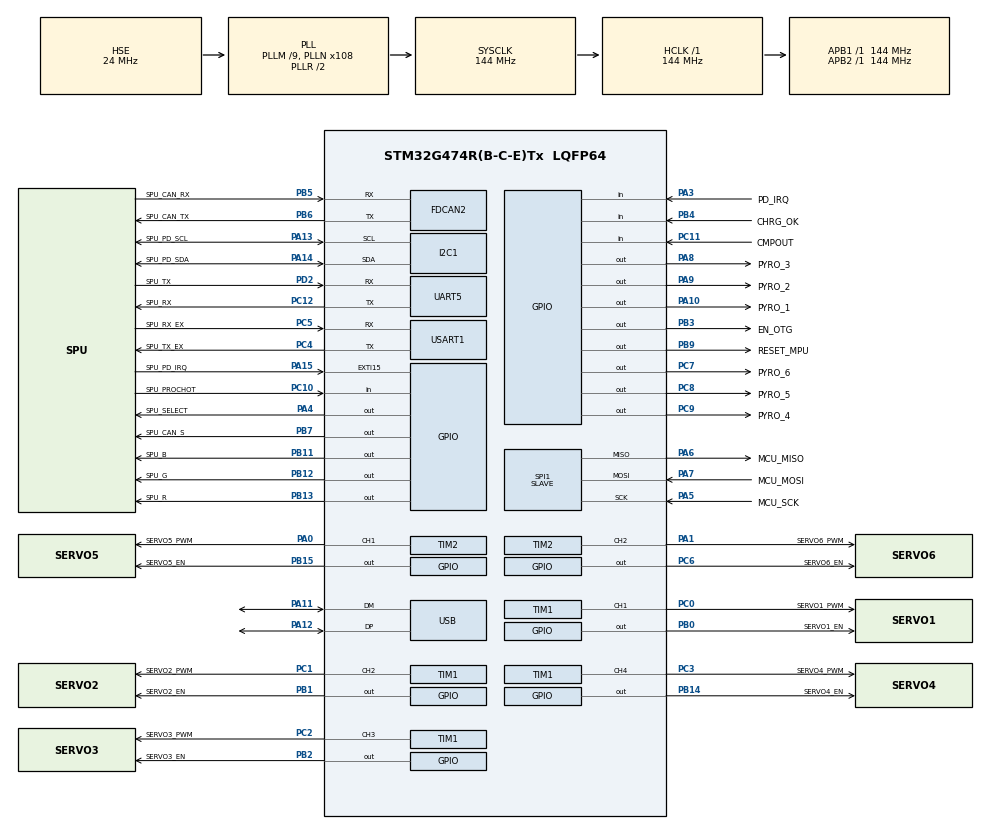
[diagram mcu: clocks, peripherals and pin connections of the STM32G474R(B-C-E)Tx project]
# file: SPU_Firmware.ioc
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FDCAN2.CalculateBaudRateNominal=2999999
FDCAN2.CalculateTimeBitNominal=333
FDCAN2.CalculateTimeQuantumNominal=111.11111111111111
I2C1.Timing=0x60715075
Mcu.Family=STM32G4
Mcu.Name=STM32G474R(B-C-E)Tx
Mcu.Package=LQFP64
NVIC.PriorityGroup=NVIC_PRIORITYGROUP_4
NVIC.UART5_IRQn=true\:1\:0\:false\:false\:true\:true\:true\:true
NVIC.USB_LP_IRQn=true\:0\:0\:false\:false\:true\:false\:true\:true
PA0.GPIO_Label=SERVO5_PWM
PA0.Signal=S_TIM2_CH1
PA1.GPIO_Label=SERVO6_PWM
PA1.Signal=S_TIM2_CH2
PA10.GPIO_Label=PYRO_1
PA10.Signal=GPIO_Output
PA11.Mode=Device
PA11.Signal=USB_DM
PA12.Mode=Device
PA12.Signal=USB_DP
PA13.GPIO_Label=SPU_PD_SCL
PA13.GPIO_PuPd=GPIO_PULLUP
PA13.Mode=I2C
PA13.Signal=I2C1_SCL
PA14.GPIO_Label=SPU_PD_SDA
PA14.GPIO_PuPd=GPIO_PULLUP
PA14.Mode=I2C
PA14.Signal=I2C1_SDA
PA15.GPIO_Label=SPU_PD_IRQ
PA15.Signal=GPXTI15
PA3.GPIO_Label=PD_IRQ
PA3.GPIO_PuPd=GPIO_PULLUP
PA3.Signal=GPIO_Input
PA4.GPIO_Label=SPU_SELECT
PA4.Signal=GPIO_Output
PA5.GPIO_Label=MCU_SCK
PA5.Mode=Full_Duplex_Slave
PA5.Signal=SPI1_SCK
PA6.GPIO_Label=MCU_MISO
PA6.Mode=Full_Duplex_Slave
PA6.Signal=SPI1_MISO
PA7.GPIO_Label=MCU_MOSI
PA7.Mode=Full_Duplex_Slave
PA7.Signal=SPI1_MOSI
PA8.GPIO_Label=PYRO_3
PA8.Signal=GPIO_Output
PA9.GPIO_Label=PYRO_2
PA9.Signal=GPIO_Output
PB0.GPIO_Label=SERVO1_EN
PB0.Signal=GPIO_Output
PB1.GPIO_Label=SERVO2_EN
PB1.Signal=GPIO_Output
PB11.GPIO_Label=SPU_B
PB11.PinState=GPIO_PIN_SET
PB11.Signal=GPIO_Output
PB12.GPIO_Label=SPU_G
PB12.PinState=GPIO_PIN_SET
PB12.Signal=GPIO_Output
PB13.GPIO_Label=SPU_R
PB13.PinState=GPIO_PIN_SET
PB13.Signal=GPIO_Output
PB14.GPIO_Label=SERVO4_EN
PB14.Signal=GPIO_Output
PB15.GPIO_Label=SERVO5_EN
PB15.Signal=GPIO_Output
PB2.GPIO_Label=SERVO3_EN
PB2.Signal=GPIO_Output
PB3.GPIO_Label=EN_OTG
PB3.Signal=GPIO_Output
PB4.GPIO_Label=CHRG_OK
PB4.Signal=GPIO_Input
PB5.GPIO_Label=SPU_CAN_RX
PB5.Mode=FDCAN_Activate
PB5.Signal=FDCAN2_RX
PB6.GPIO_Label=SPU_CAN_TX
PB6.Mode=FDCAN_Activate
PB6.Signal=FDCAN2_TX
PB7.GPIO_Label=SPU_CAN_S
PB7.PinState=GPIO_PIN_SET
PB7.Signal=GPIO_Output
PB9.GPIO_Label=RESET_MPU
PB9.PinState=GPIO_PIN_SET
PB9.Signal=GPIO_Output
PC0.GPIO_Label=SERVO1_PWM
PC0.Signal=S_TIM1_CH1
PC1.GPIO_Label=SERVO2_PWM
PC1.Signal=S_TIM1_CH2
PC10.GPIO_Label=SPU_PROCHOT
PC10.Signal=GPIO_Input
PC11.GPIO_Label=CMPOUT
PC11.Signal=GPIO_Input
PC12.GPIO_Label=SPU_RX
PC12.Mode=Asynchronous
PC12.Signal=UART5_TX
PC14-OSC32_IN.Mode=LSE-External-Oscillator
PC14-OSC32_IN.Signal=RCC_OSC32_IN
PC15-OSC32_OUT.Mode=LSE-External-Oscillator
PC15-OSC32_OUT.Signal=RCC_OSC32_OUT
PC2.GPIO_Label=SERVO3_PWM
PC2.Signal=S_TIM1_CH3
PC3.GPIO_Label=SERVO4_PWM
PC3.Signal=S_TIM1_CH4
PC4.GPIO_Label=SPU_TX_EX
PC4.Mode=Asynchronous
PC4.Signal=USART1_TX
PC5.GPIO_Label=SPU_RX_EX
PC5.Mode=Asynchronous
PC5.Signal=USART1_RX
PC6.GPIO_Label=SERVO6_EN
PC6.Signal=GPIO_Output
PC7.GPIO_Label=PYRO_6
PC7.Signal=GPIO_Output
PC8.GPIO_Label=PYRO_5
PC8.Signal=GPIO_Output
PC9.GPIO_Label=PYRO_4
PC9.Signal=GPIO_Output
PD2.GPIO_Label=SPU_TX
PD2.Mode=Asynchronous
PD2.Signal=UART5_RX
PF0-OSC_IN.Mode=HSE-External-Oscillator
PF0-OSC_IN.Signal=RCC_OSC_IN
PF1-OSC_OUT.Mode=HSE-External-Oscillator
PF1-OSC_OUT.Signal=RCC_OSC_OUT
ProjectManager.HeapSize=0x200
ProjectManager.StackSize=0x400
ProjectManager.TargetToolchain=Makefile
RCC.ADC12Freq_Value=144000000
RCC.ADC345Freq_Value=144000000
RCC.AHBFreq_Value=144000000
RCC.APB1Freq_Value=144000000
RCC.APB1TimFreq_Value=144000000
RCC.APB2Freq_Value=144000000
RCC.APB2TimFreq_Value=144000000
RCC.CortexFreq_Value=144000000
RCC.EXTERNAL_CLOCK_VALUE=12288000
RCC.HCLKFreq_Value=144000000
RCC.HSE_VALUE=24000000
RCC.HSI48_VALUE=48000000
RCC.HSI_VALUE=16000000
RCC.PLLM=RCC_PLLM_DIV9
RCC.PLLN=108
RCC.PLLQ=RCC_PLLQ_DIV6
RCC.PLLSourceVirtual=RCC_PLLSOURCE_HSE
RCC.SYSCLKFreq_VALUE=144000000
RCC.SYSCLKSource=RCC_SYSCLKSOURCE_PLLCLK
RCC.USBFreq_Value=48000000
RCC.VCOOutputFreq_Value=288000000
SH.S_TIM1_CH1.0=TIM1_CH1,PWM Generation1 CH1
SH.S_TIM1_CH2.0=TIM1_CH2,PWM Generation2 CH2
SH.S_TIM1_CH3.0=TIM1_CH3,PWM Generation3 CH3
SH.S_TIM1_CH4.0=TIM1_CH4,PWM Generation4 CH4
SH.S_TIM2_CH1.0=TIM2_CH1,PWM Generation1 CH1
SH.S_TIM2_CH2.0=TIM2_CH2,PWM Generation2 CH2
SPI1.Direction=SPI_DIRECTION_2LINES
SPI1.Mode=SPI_MODE_SLAVE
SPI1.VirtualType=VM_SLAVE
TIM1.Channel-PWM\ Generation1\ CH1=TIM_CHANNEL_1
TIM1.Channel-PWM\ Generation2\ CH2=TIM_CHANNEL_2
TIM1.Channel-PWM\ Generation3\ CH3=TIM_CHANNEL_3
TIM1.Channel-PWM\ Generation4\ CH4=TIM_CHANNEL_4
TIM1.Period=19999
TIM1.Prescaler=143
TIM2.Channel-PWM\ Generation1\ CH1=TIM_CHANNEL_1
TIM2.Channel-PWM\ Generation2\ CH2=TIM_CHANNEL_2
TIM2.Period=19999
TIM2.Prescaler=143
UART5.VirtualMode-Asynchronous=VM_ASYNC
USART1.VirtualMode-Asynchronous=VM_ASYNC
USB_DEVICE.CLASS_NAME_FS=CDC
USB_DEVICE.VirtualMode=Cdc
USB_DEVICE.VirtualModeFS=Cdc_FS
VP_SYS_VS_DBSignals.Mode=DisableDeadBatterySignals
VP_USB_DEVICE_VS_USB_DEVICE_CDC_FS.Mode=CDC_FS
board=custom

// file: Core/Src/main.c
/* USER CODE BEGIN Header */
/**
  ******************************************************************************
  * @file           : main.c
  * @brief          : Main program body
  ******************************************************************************
  * @attention
  *
  * Copyright (c) 2025 STMicroelectronics.
  * All rights reserved.
  *
  * This software is licensed under terms that can be found in the LICENSE file
  * in the root directory of this software component.
  * If no LICENSE file comes with this software, it is provided AS-IS.
  *
  ******************************************************************************
  */
/* USER CODE END Header */
#include "main.h"
#include "usb_device.h"

/* USER CODE BEGIN Includes */
#include <string.h>
#include "usbd_cdc_if.h"
#include "athena.h"
#include "athena_link.h"
#include "recovery.h"
#include "pd.h"

/* USER CODE END Includes */

/* USER CODE BEGIN PD */
#define LED_IDENTITY_MS 3000      // show the MCU identity colour this long after reset
#define SPU_STATUS_MS   500       // Athena_SpuStatus frames to the MPU (and USB)
#define STATUS_PRINT_MS 1000
 #define TPS25751_I2C_ADDR        0x20  // 7-bit I2C Address (HAL will shift to 0x40)
  #define LOAD_FULL_FLASH          1     // Set to 1 for full flash, 0 for low region only
/* USER CODE END PD */

FDCAN_HandleTypeDef hfdcan2;

I2C_HandleTypeDef hi2c1;

SPI_HandleTypeDef hspi1;

TIM_HandleTypeDef htim1;
TIM_HandleTypeDef htim2;

UART_HandleTypeDef huart5;
UART_HandleTypeDef huart1;

/* USER CODE BEGIN PV */
static uint32_t dfu_boot_magic, dfu_boot_bkp;
static uint8_t  leds_off;                      // 'L' on the USB console: dark board (night, bench)
static uint32_t fault_rec[6];                 // crash record from the previous run (magic, pc, lr, cfsr, hfsr, bfar)
static Link            mpu_link;                 // UART5 <-> MPU: state frames in, SPU status out, commands relayed from the TPU
static Link            usb_link;                 // USB console: command frames and single-character commands
static uint8_t         uart5_rx_byte;
static uint8_t         uart_frame[sizeof(Athena_SpuStatus) + LINK_OVERHEAD];   // owned by the UART5 IT transfer
static uint8_t         usb_frame[sizeof(Athena_SpuStatus) + LINK_OVERHEAD];
static Recovery        rec;                      // flight phase, pyro channels, servos
static PD              pd;                       // TPS25751 USB-PD controller + BQ25713 charger behind it
static Athena_State    mpu_state;
static uint32_t        mpu_state_ms, state_count, cmd_count, cmd_rejected;
  Athena_LED_PinConfig led_pins = {
      .port_r = SPU_R_GPIO_Port,
      .pin_r = SPU_R_Pin,
      .port_g = SPU_G_GPIO_Port,
      .pin_g = SPU_G_Pin,
      .port_b = SPU_B_GPIO_Port,
      .pin_b = SPU_B_Pin
  };
/* USER CODE END PV */

void SystemClock_Config(void);
static void MX_GPIO_Init(void);
static void MX_I2C1_Init(void);
static void MX_SPI1_Init(void);
static void MX_TIM1_Init(void);
static void MX_TIM2_Init(void);
static void MX_UART5_Init(void);
static void MX_FDCAN2_Init(void);
static void MX_USART1_UART_Init(void);
/* USER CODE BEGIN PFP */
static void Athena_DfuPoll(void);
static void Athena_RestoreBootOptions(void);
void Athena_DfuRequest(uint8_t c);
void Athena_UsbRx(const uint8_t *buf, uint32_t len);
static void on_mpu_packet(uint8_t type, const uint8_t *payload, uint8_t len, void *user);
static void on_usb_packet(uint8_t type, const uint8_t *payload, uint8_t len, void *user);
static void on_usb_text(uint8_t b, void *user);
static void handle_cmd(const Athena_Cmd *c, const char *src);

/* USER CODE END PFP */

int main(void)
{

  /* USER CODE BEGIN 1 */
  SCB->VTOR = FLASH_BASE;                                       /* after a DFU "leave" the ROM jumps here without a reset and VTOR still points at its own table */
  __DSB(); __ISB();
  dfu_boot_magic = *(volatile uint32_t *)DFU_MAGIC_ADDR;        /* printed later: tells whether the word survived the reset */
  DFU_BKP_ENABLE();
  dfu_boot_bkp = DFU_BKP_REG;
  if (dfu_boot_magic == DFU_MAGIC || dfu_boot_bkp == DFU_MAGIC) {   /* 'B' on the USB console asked for DFU */
    *(volatile uint32_t *)DFU_MAGIC_ADDR = 0;
    DFU_BKP_REG = 0;
    SysTick->CTRL = 0;
    __HAL_RCC_SYSCFG_CLK_ENABLE();
    __HAL_SYSCFG_REMAPMEMORY_SYSTEMFLASH();                     /* G4 ROM expects itself at address 0 (it re-runs its boot selection otherwise) */
    SCB->VTOR = DFU_SYSMEM_ADDR;                                /* ROM vector table; interrupts stay enabled as after a real reset */
    __set_MSP(*(volatile uint32_t *)DFU_SYSMEM_ADDR);
    ((void (*)(void))(*(volatile uint32_t *)(DFU_SYSMEM_ADDR + 4)))();   /* never returns */
  }

  { volatile uint32_t *r = (volatile uint32_t *)(DFU_MAGIC_ADDR + 0x10);   /* left by Athena_FaultSave() / Error_Handler() before their reset */
    if (r[0] == 0x46415554UL || r[0] == 0x4552524FUL) { for (int i = 0; i < 6; i++) fault_rec[i] = r[i]; r[0] = 0; } }
  /* USER CODE END 1 */

  /* MCU Configuration--------------------------------------------------------*/

  /* Reset of all peripherals, Initializes the Flash interface and the Systick. */
  HAL_Init();

  /* Configure the system clock */
  SystemClock_Config();

  /* USER CODE BEGIN SysInit */

  Athena_Init(&led_pins, NULL);
  /* USER CODE END SysInit */

  /* Initialize all configured peripherals */
  MX_GPIO_Init();
  MX_I2C1_Init();
  MX_SPI1_Init();
  MX_TIM1_Init();
  MX_TIM2_Init();
  MX_UART5_Init();
  MX_FDCAN2_Init();
  MX_USART1_UART_Init();
  MX_USB_Device_Init();
  /* USER CODE BEGIN 2 */
  Athena_RestoreBootOptions();                         // resets once if we were booted through DFU
  Set_LED_Color(LED_BLUE);                             // identity colour: SPU = blue (MPU green, TPU red)
  Recovery_Init(&rec, NULL);                           // pyro outputs low, servos without pulse, main chute at 150 m
  HAL_TIM_PWM_Start(&htim1, TIM_CHANNEL_1);            // 50 Hz servo frames, pulse set in Recovery_HwServo()
  HAL_TIM_PWM_Start(&htim1, TIM_CHANNEL_2);
  HAL_TIM_PWM_Start(&htim1, TIM_CHANNEL_3);
  HAL_TIM_PWM_Start(&htim1, TIM_CHANNEL_4);
  HAL_TIM_PWM_Start(&htim2, TIM_CHANNEL_1);
  HAL_TIM_PWM_Start(&htim2, TIM_CHANNEL_2);
  Link_Init(&mpu_link, on_mpu_packet, NULL);
  Link_Init(&usb_link, on_usb_packet, NULL);
  usb_link.on_text = on_usb_text;
  HAL_UART_Receive_IT(&huart5, &uart5_rx_byte, 1);
  HAL_Delay(1000);                                     // USB CDC enumeration

  print("\r\n=== Athena SPU ===\r\n");
  print("dfu: boot magic sram=0x%08lX bkp=0x%08lX\r\n", (unsigned long)dfu_boot_magic, (unsigned long)dfu_boot_bkp);
  if (fault_rec[0]) print("%s before this reset: pc=0x%08lX lr=0x%08lX cfsr=0x%08lX hfsr=0x%08lX bfar=0x%08lX\r\n",
                          fault_rec[0] == 0x46415554UL ? "FAULT" : "ERROR_HANDLER", (unsigned long)fault_rec[1], (unsigned long)fault_rec[2],
                          (unsigned long)fault_rec[3], (unsigned long)fault_rec[4], (unsigned long)fault_rec[5]);
  PD_Init(&pd, &hi2c1);                                // TPS25751: patch it if it waits in PTCH mode, then it owns the charger
  print("init: done, main chute at %u m, disarmed\r\n", (unsigned)rec.p.main_alt_m);

  uint32_t last_status_ms = 0, last_print_ms = 0;
  /* USER CODE END 2 */

  /* Infinite loop */
  /* USER CODE BEGIN WHILE */
  while (1)
  {
    uint32_t now = HAL_GetTick();
    Athena_DfuPoll();

    /* 1. navigation state from the MPU (-> Recovery_OnState) and commands relayed from the TPU */
    Link_Process(&mpu_link);
    /* 2. USB console: command frames from the dashboard, single characters from a terminal */
    Link_Process(&usb_link);
    /* 3. pyro pulse timing, auto-disarm after landing */
    Recovery_Task(&rec, now);
    /* 4. USB-PD controller and charger, 1 Hz */
    PD_Task(&pd, now, (rec.phase == SPU_PHASE_PAD || rec.phase == SPU_PHASE_LANDED) && !rec.armed);   // no multi-second I2C work in flight or while armed

    /* 5. status frame to the MPU (forwarded to the TPU: log + telemetry) and to USB */
    if ((now - last_status_ms) >= SPU_STATUS_MS) {
      last_status_ms = now;
      Athena_SpuStatus st; memset(&st, 0, sizeof st);
      st.t_ms = now;
      Recovery_Fill(&rec, &st, now);
      PD_Fill(&pd, &st);
      if (HAL_GPIO_ReadPin(CHRG_OK_GPIO_Port, CHRG_OK_Pin) == GPIO_PIN_SET)       st.flags |= SPU_FLAG_CHRG_OK;
      if (HAL_GPIO_ReadPin(SPU_PROCHOT_GPIO_Port, SPU_PROCHOT_Pin) == GPIO_PIN_RESET) st.flags |= SPU_FLAG_PROCHOT;   // active low
      if (HAL_GPIO_ReadPin(CMPOUT_GPIO_Port, CMPOUT_Pin) == GPIO_PIN_SET)         st.flags |= SPU_FLAG_CMPOUT;
      size_t n = Link_Encode(usb_frame, LINK_PKT_SPU, &st, sizeof st);
      CDC_Transmit_FS(usb_frame, (uint16_t)n);                 // dropped if the endpoint is busy
      if (huart5.gState == HAL_UART_STATE_READY) {
        memcpy(uart_frame, usb_frame, n);
        HAL_UART_Transmit_IT(&huart5, uart_frame, (uint16_t)n);
      }
    }

    /* 6. human-readable status + LED */
    if ((now - last_print_ms) >= STATUS_PRINT_MS) {
      last_print_ms = now;
      int mpu_alive = state_count && (now - mpu_state_ms) < 1000u;
      print("spu %s%s | mpu %s alt=%.1f vz=%.1f (n=%lu, bad=%lu) | pyro fired=0x%02X on=0x%02X main=%um apogee=%.0fm | pd %s plug=%u pdo=%umV/%umA resets=%lu vbat=%umV vbus=%umV ibat=%dmA iin=%umA chg=0x%04X | chrg_ok=%u prochot=%u cmpout=%u | cmd ok=%lu rej=%lu | boot=%08lX/%08lX\r\n",
            Recovery_PhaseName(rec.phase), rec.armed ? " ARMED" : "",
            mpu_alive ? "ok" : "LOST", -mpu_state.pos_ned[2], -mpu_state.vel_ned[2], (unsigned long)state_count, (unsigned long)mpu_link.rx_bad,
            rec.fired, rec.on, (unsigned)rec.p.main_alt_m, rec.apogee_m,
            PD_ModeName(pd.mode), pd.status[0] & 1u, pd.pdo_mv, pd.pdo_ma, (unsigned long)pd.resets, pd.vbat_mv, pd.vbus_mv, pd.ibat_ma, pd.iin_ma, pd.chg_status,
            HAL_GPIO_ReadPin(CHRG_OK_GPIO_Port, CHRG_OK_Pin), !HAL_GPIO_ReadPin(SPU_PROCHOT_GPIO_Port, SPU_PROCHOT_Pin), HAL_GPIO_ReadPin(CMPOUT_GPIO_Port, CMPOUT_Pin),
            (unsigned long)cmd_count, (unsigned long)cmd_rejected, (unsigned long)dfu_boot_magic, (unsigned long)dfu_boot_bkp);
      if (leds_off)                                 Set_LED_Color(LED_OFF);
      else if (HAL_GetTick() < LED_IDENTITY_MS)     { /* keep showing the identity colour */ }
      else if (rec.armed)                           Set_LED_Color((now / 250) & 1 ? LED_RED : LED_OFF);   // armed: blinking red
      else if (rec.phase == SPU_PHASE_LANDED)       Set_LED_Color(LED_CYAN);
      else if (rec.phase != SPU_PHASE_PAD)          Set_LED_Color(LED_MAGENTA);
      else if (!mpu_alive)                          Set_LED_Color(LED_YELLOW);
      else                                          Set_LED_Color(LED_GREEN);
    }
    /* USER CODE END WHILE */

  }
}

void SystemClock_Config(void)
{
  RCC_OscInitTypeDef RCC_OscInitStruct = {0};
  RCC_ClkInitTypeDef RCC_ClkInitStruct = {0};

  /** Configure the main internal regulator output voltage
  */
  HAL_PWREx_ControlVoltageScaling(PWR_REGULATOR_VOLTAGE_SCALE1);

  /** Initializes the RCC Oscillators according to the specified parameters
  * in the RCC_OscInitTypeDef structure.
  */
  RCC_OscInitStruct.OscillatorType = RCC_OSCILLATORTYPE_HSE;
  RCC_OscInitStruct.HSEState = RCC_HSE_ON;
  RCC_OscInitStruct.PLL.PLLState = RCC_PLL_ON;
  RCC_OscInitStruct.PLL.PLLSource = RCC_PLLSOURCE_HSE;
  RCC_OscInitStruct.PLL.PLLM = RCC_PLLM_DIV9;
  RCC_OscInitStruct.PLL.PLLN = 108;
  RCC_OscInitStruct.PLL.PLLP = RCC_PLLP_DIV2;
  RCC_OscInitStruct.PLL.PLLQ = RCC_PLLQ_DIV6;
  RCC_OscInitStruct.PLL.PLLR = RCC_PLLR_DIV2;
  if (HAL_RCC_OscConfig(&RCC_OscInitStruct) != HAL_OK)
  {
    Error_Handler();
  }

  /** Initializes the CPU, AHB and APB buses clocks
  */
  RCC_ClkInitStruct.ClockType = RCC_CLOCKTYPE_HCLK|RCC_CLOCKTYPE_SYSCLK
                              |RCC_CLOCKTYPE_PCLK1|RCC_CLOCKTYPE_PCLK2;
  RCC_ClkInitStruct.SYSCLKSource = RCC_SYSCLKSOURCE_PLLCLK;
  RCC_ClkInitStruct.AHBCLKDivider = RCC_SYSCLK_DIV1;
  RCC_ClkInitStruct.APB1CLKDivider = RCC_HCLK_DIV1;
  RCC_ClkInitStruct.APB2CLKDivider = RCC_HCLK_DIV1;

  if (HAL_RCC_ClockConfig(&RCC_ClkInitStruct, FLASH_LATENCY_4) != HAL_OK)
  {
    Error_Handler();
  }
}

static void MX_FDCAN2_Init(void)
{

  hfdcan2.Instance = FDCAN2;
  hfdcan2.Init.ClockDivider = FDCAN_CLOCK_DIV1;
  hfdcan2.Init.FrameFormat = FDCAN_FRAME_CLASSIC;
  hfdcan2.Init.Mode = FDCAN_MODE_NORMAL;
  hfdcan2.Init.AutoRetransmission = DISABLE;
  hfdcan2.Init.TransmitPause = DISABLE;
  hfdcan2.Init.ProtocolException = DISABLE;
  hfdcan2.Init.NominalPrescaler = 16;
  hfdcan2.Init.NominalSyncJumpWidth = 1;
  hfdcan2.Init.NominalTimeSeg1 = 1;
  hfdcan2.Init.NominalTimeSeg2 = 1;
  hfdcan2.Init.DataPrescaler = 1;
  hfdcan2.Init.DataSyncJumpWidth = 1;
  hfdcan2.Init.DataTimeSeg1 = 1;
  hfdcan2.Init.DataTimeSeg2 = 1;
  hfdcan2.Init.StdFiltersNbr = 0;
  hfdcan2.Init.ExtFiltersNbr = 0;
  hfdcan2.Init.TxFifoQueueMode = FDCAN_TX_FIFO_OPERATION;
  if (HAL_FDCAN_Init(&hfdcan2) != HAL_OK)
  {
    Error_Handler();
  }

}

static void MX_I2C1_Init(void)
{

  hi2c1.Instance = I2C1;
  hi2c1.Init.Timing = 0x60715075;
  hi2c1.Init.OwnAddress1 = 0;
  hi2c1.Init.AddressingMode = I2C_ADDRESSINGMODE_7BIT;
  hi2c1.Init.DualAddressMode = I2C_DUALADDRESS_DISABLE;
  hi2c1.Init.OwnAddress2 = 0;
  hi2c1.Init.OwnAddress2Masks = I2C_OA2_NOMASK;
  hi2c1.Init.GeneralCallMode = I2C_GENERALCALL_DISABLE;
  hi2c1.Init.NoStretchMode = I2C_NOSTRETCH_DISABLE;
  if (HAL_I2C_Init(&hi2c1) != HAL_OK)
  {
    Error_Handler();
  }

  /** Configure Analogue filter
  */
  if (HAL_I2CEx_ConfigAnalogFilter(&hi2c1, I2C_ANALOGFILTER_ENABLE) != HAL_OK)
  {
    Error_Handler();
  }

  /** Configure Digital filter
  */
  if (HAL_I2CEx_ConfigDigitalFilter(&hi2c1, 0) != HAL_OK)
  {
    Error_Handler();
  }

}

static void MX_SPI1_Init(void)
{

  /* SPI1 parameter configuration*/
  hspi1.Instance = SPI1;
  hspi1.Init.Mode = SPI_MODE_SLAVE;
  hspi1.Init.Direction = SPI_DIRECTION_2LINES;
  hspi1.Init.DataSize = SPI_DATASIZE_4BIT;
  hspi1.Init.CLKPolarity = SPI_POLARITY_LOW;
  hspi1.Init.CLKPhase = SPI_PHASE_1EDGE;
  hspi1.Init.NSS = SPI_NSS_SOFT;
  hspi1.Init.FirstBit = SPI_FIRSTBIT_MSB;
  hspi1.Init.TIMode = SPI_TIMODE_DISABLE;
  hspi1.Init.CRCCalculation = SPI_CRCCALCULATION_DISABLE;
  hspi1.Init.CRCPolynomial = 7;
  hspi1.Init.CRCLength = SPI_CRC_LENGTH_DATASIZE;
  hspi1.Init.NSSPMode = SPI_NSS_PULSE_DISABLE;
  if (HAL_SPI_Init(&hspi1) != HAL_OK)
  {
    Error_Handler();
  }

}

static void MX_TIM1_Init(void)
{

  TIM_MasterConfigTypeDef sMasterConfig = {0};
  TIM_OC_InitTypeDef sConfigOC = {0};
  TIM_BreakDeadTimeConfigTypeDef sBreakDeadTimeConfig = {0};

  htim1.Instance = TIM1;
  htim1.Init.Prescaler = 143;
  htim1.Init.CounterMode = TIM_COUNTERMODE_UP;
  htim1.Init.Period = 19999;
  htim1.Init.ClockDivision = TIM_CLOCKDIVISION_DIV1;
  htim1.Init.RepetitionCounter = 0;
  htim1.Init.AutoReloadPreload = TIM_AUTORELOAD_PRELOAD_DISABLE;
  if (HAL_TIM_PWM_Init(&htim1) != HAL_OK)
  {
    Error_Handler();
  }
  sMasterConfig.MasterOutputTrigger = TIM_TRGO_RESET;
  sMasterConfig.MasterOutputTrigger2 = TIM_TRGO2_RESET;
  sMasterConfig.MasterSlaveMode = TIM_MASTERSLAVEMODE_DISABLE;
  if (HAL_TIMEx_MasterConfigSynchronization(&htim1, &sMasterConfig) != HAL_OK)
  {
    Error_Handler();
  }
  sConfigOC.OCMode = TIM_OCMODE_PWM1;
  sConfigOC.Pulse = 0;
  sConfigOC.OCPolarity = TIM_OCPOLARITY_HIGH;
  sConfigOC.OCNPolarity = TIM_OCNPOLARITY_HIGH;
  sConfigOC.OCFastMode = TIM_OCFAST_DISABLE;
  sConfigOC.OCIdleState = TIM_OCIDLESTATE_RESET;
  sConfigOC.OCNIdleState = TIM_OCNIDLESTATE_RESET;
  if (HAL_TIM_PWM_ConfigChannel(&htim1, &sConfigOC, TIM_CHANNEL_1) != HAL_OK)
  {
    Error_Handler();
  }
  if (HAL_TIM_PWM_ConfigChannel(&htim1, &sConfigOC, TIM_CHANNEL_2) != HAL_OK)
  {
    Error_Handler();
  }
  if (HAL_TIM_PWM_ConfigChannel(&htim1, &sConfigOC, TIM_CHANNEL_3) != HAL_OK)
  {
    Error_Handler();
  }
  if (HAL_TIM_PWM_ConfigChannel(&htim1, &sConfigOC, TIM_CHANNEL_4) != HAL_OK)
  {
    Error_Handler();
  }
  sBreakDeadTimeConfig.OffStateRunMode = TIM_OSSR_DISABLE;
  sBreakDeadTimeConfig.OffStateIDLEMode = TIM_OSSI_DISABLE;
  sBreakDeadTimeConfig.LockLevel = TIM_LOCKLEVEL_OFF;
  sBreakDeadTimeConfig.DeadTime = 0;
  sBreakDeadTimeConfig.BreakState = TIM_BREAK_DISABLE;
  sBreakDeadTimeConfig.BreakPolarity = TIM_BREAKPOLARITY_HIGH;
  sBreakDeadTimeConfig.BreakFilter = 0;
  sBreakDeadTimeConfig.BreakAFMode = TIM_BREAK_AFMODE_INPUT;
  sBreakDeadTimeConfig.Break2State = TIM_BREAK2_DISABLE;
  sBreakDeadTimeConfig.Break2Polarity = TIM_BREAK2POLARITY_HIGH;
  sBreakDeadTimeConfig.Break2Filter = 0;
  sBreakDeadTimeConfig.Break2AFMode = TIM_BREAK_AFMODE_INPUT;
  sBreakDeadTimeConfig.AutomaticOutput = TIM_AUTOMATICOUTPUT_DISABLE;
  if (HAL_TIMEx_ConfigBreakDeadTime(&htim1, &sBreakDeadTimeConfig) != HAL_OK)
  {
    Error_Handler();
  }
  HAL_TIM_MspPostInit(&htim1);

}

static void MX_TIM2_Init(void)
{

  TIM_MasterConfigTypeDef sMasterConfig = {0};
  TIM_OC_InitTypeDef sConfigOC = {0};

  htim2.Instance = TIM2;
  htim2.Init.Prescaler = 143;
  htim2.Init.CounterMode = TIM_COUNTERMODE_UP;
  htim2.Init.Period = 19999;
  htim2.Init.ClockDivision = TIM_CLOCKDIVISION_DIV1;
  htim2.Init.AutoReloadPreload = TIM_AUTORELOAD_PRELOAD_DISABLE;
  if (HAL_TIM_PWM_Init(&htim2) != HAL_OK)
  {
    Error_Handler();
  }
  sMasterConfig.MasterOutputTrigger = TIM_TRGO_RESET;
  sMasterConfig.MasterSlaveMode = TIM_MASTERSLAVEMODE_DISABLE;
  if (HAL_TIMEx_MasterConfigSynchronization(&htim2, &sMasterConfig) != HAL_OK)
  {
    Error_Handler();
  }
  sConfigOC.OCMode = TIM_OCMODE_PWM1;
  sConfigOC.Pulse = 0;
  sConfigOC.OCPolarity = TIM_OCPOLARITY_HIGH;
  sConfigOC.OCFastMode = TIM_OCFAST_DISABLE;
  if (HAL_TIM_PWM_ConfigChannel(&htim2, &sConfigOC, TIM_CHANNEL_1) != HAL_OK)
  {
    Error_Handler();
  }
  if (HAL_TIM_PWM_ConfigChannel(&htim2, &sConfigOC, TIM_CHANNEL_2) != HAL_OK)
  {
    Error_Handler();
  }
  HAL_TIM_MspPostInit(&htim2);

}

static void MX_UART5_Init(void)
{

  huart5.Instance = UART5;
  huart5.Init.BaudRate = 115200;
  huart5.Init.WordLength = UART_WORDLENGTH_8B;
  huart5.Init.StopBits = UART_STOPBITS_1;
  huart5.Init.Parity = UART_PARITY_NONE;
  huart5.Init.Mode = UART_MODE_TX_RX;
  huart5.Init.HwFlowCtl = UART_HWCONTROL_NONE;
  huart5.Init.OverSampling = UART_OVERSAMPLING_16;
  huart5.Init.OneBitSampling = UART_ONE_BIT_SAMPLE_DISABLE;
  huart5.Init.ClockPrescaler = UART_PRESCALER_DIV1;
  huart5.AdvancedInit.AdvFeatureInit = UART_ADVFEATURE_NO_INIT;
  if (HAL_UART_Init(&huart5) != HAL_OK)
  {
    Error_Handler();
  }
  if (HAL_UARTEx_SetTxFifoThreshold(&huart5, UART_TXFIFO_THRESHOLD_1_8) != HAL_OK)
  {
    Error_Handler();
  }
  if (HAL_UARTEx_SetRxFifoThreshold(&huart5, UART_RXFIFO_THRESHOLD_1_8) != HAL_OK)
  {
    Error_Handler();
  }
  if (HAL_UARTEx_DisableFifoMode(&huart5) != HAL_OK)
  {
    Error_Handler();
  }

}

static void MX_USART1_UART_Init(void)
{

  huart1.Instance = USART1;
  huart1.Init.BaudRate = 115200;
  huart1.Init.WordLength = UART_WORDLENGTH_8B;
  huart1.Init.StopBits = UART_STOPBITS_1;
  huart1.Init.Parity = UART_PARITY_NONE;
  huart1.Init.Mode = UART_MODE_TX_RX;
  huart1.Init.HwFlowCtl = UART_HWCONTROL_NONE;
  huart1.Init.OverSampling = UART_OVERSAMPLING_16;
  huart1.Init.OneBitSampling = UART_ONE_BIT_SAMPLE_DISABLE;
  huart1.Init.ClockPrescaler = UART_PRESCALER_DIV1;
  huart1.AdvancedInit.AdvFeatureInit = UART_ADVFEATURE_NO_INIT;
  if (HAL_UART_Init(&huart1) != HAL_OK)
  {
    Error_Handler();
  }
  if (HAL_UARTEx_SetTxFifoThreshold(&huart1, UART_TXFIFO_THRESHOLD_1_8) != HAL_OK)
  {
    Error_Handler();
  }
  if (HAL_UARTEx_SetRxFifoThreshold(&huart1, UART_RXFIFO_THRESHOLD_1_8) != HAL_OK)
  {
    Error_Handler();
  }
  if (HAL_UARTEx_DisableFifoMode(&huart1) != HAL_OK)
  {
    Error_Handler();
  }

}

static void MX_GPIO_Init(void)
{
  GPIO_InitTypeDef GPIO_InitStruct = {0};

  /* GPIO Ports Clock Enable */
  __HAL_RCC_GPIOC_CLK_ENABLE();
  __HAL_RCC_GPIOF_CLK_ENABLE();
  __HAL_RCC_GPIOA_CLK_ENABLE();
  __HAL_RCC_GPIOB_CLK_ENABLE();
  __HAL_RCC_GPIOD_CLK_ENABLE();

  /*Configure GPIO pin Output Level */
  HAL_GPIO_WritePin(GPIOA, SPU_SELECT_Pin|PYRO_3_Pin|PYRO_2_Pin|PYRO_1_Pin, GPIO_PIN_RESET);

  /*Configure GPIO pin Output Level */
  HAL_GPIO_WritePin(GPIOB, SERVO1_EN_Pin|SERVO2_EN_Pin|SERVO3_EN_Pin|SERVO4_EN_Pin
                          |SERVO5_EN_Pin|EN_OTG_Pin, GPIO_PIN_RESET);

  /*Configure GPIO pin Output Level */
  HAL_GPIO_WritePin(GPIOB, SPU_B_Pin|SPU_G_Pin|SPU_R_Pin|RESET_MPU_Pin|SPU_CAN_S_Pin, GPIO_PIN_SET);

  /*Configure GPIO pin Output Level */
  HAL_GPIO_WritePin(GPIOC, SERVO6_EN_Pin|PYRO_6_Pin|PYRO_5_Pin|PYRO_4_Pin, GPIO_PIN_RESET);

  /*Configure GPIO pins : SPU_SELECT_Pin PYRO_3_Pin PYRO_2_Pin PYRO_1_Pin */
  GPIO_InitStruct.Pin = SPU_SELECT_Pin|PYRO_3_Pin|PYRO_2_Pin|PYRO_1_Pin;
  GPIO_InitStruct.Mode = GPIO_MODE_OUTPUT_PP;
  GPIO_InitStruct.Pull = GPIO_NOPULL;
  GPIO_InitStruct.Speed = GPIO_SPEED_FREQ_LOW;
  HAL_GPIO_Init(GPIOA, &GPIO_InitStruct);

  /*Configure GPIO pin : PD_IRQ_Pin (TPS25751 I2Cc_IRQ input: needs a pull-up, must never be driven low) */
  GPIO_InitStruct.Pin = PD_IRQ_Pin;
  GPIO_InitStruct.Mode = GPIO_MODE_INPUT;
  GPIO_InitStruct.Pull = GPIO_PULLUP;
  HAL_GPIO_Init(PD_IRQ_GPIO_Port, &GPIO_InitStruct);

  /*Configure GPIO pins : SERVO1_EN_Pin SERVO2_EN_Pin SERVO3_EN_Pin SPU_B_Pin
                           SPU_G_Pin SPU_R_Pin SERVO4_EN_Pin SERVO5_EN_Pin
                           EN_OTG_Pin SPU_CAN_S_Pin RESET_MPU_Pin */
  GPIO_InitStruct.Pin = SERVO1_EN_Pin|SERVO2_EN_Pin|SERVO3_EN_Pin|SPU_B_Pin
                          |SPU_G_Pin|SPU_R_Pin|SERVO4_EN_Pin|SERVO5_EN_Pin
                          |EN_OTG_Pin|SPU_CAN_S_Pin|RESET_MPU_Pin;
  GPIO_InitStruct.Mode = GPIO_MODE_OUTPUT_PP;
  GPIO_InitStruct.Pull = GPIO_NOPULL;
  GPIO_InitStruct.Speed = GPIO_SPEED_FREQ_LOW;
  HAL_GPIO_Init(GPIOB, &GPIO_InitStruct);

  /*Configure GPIO pin : CHRG_OK_Pin (BQ25713 open-drain output, pulled up on the board) */
  GPIO_InitStruct.Pin = CHRG_OK_Pin;
  GPIO_InitStruct.Mode = GPIO_MODE_INPUT;
  GPIO_InitStruct.Pull = GPIO_NOPULL;
  HAL_GPIO_Init(CHRG_OK_GPIO_Port, &GPIO_InitStruct);

  /*Configure GPIO pins : SERVO6_EN_Pin PYRO_6_Pin PYRO_5_Pin PYRO_4_Pin */
  GPIO_InitStruct.Pin = SERVO6_EN_Pin|PYRO_6_Pin|PYRO_5_Pin|PYRO_4_Pin;
  GPIO_InitStruct.Mode = GPIO_MODE_OUTPUT_PP;
  GPIO_InitStruct.Pull = GPIO_NOPULL;
  GPIO_InitStruct.Speed = GPIO_SPEED_FREQ_LOW;
  HAL_GPIO_Init(GPIOC, &GPIO_InitStruct);

  /*Configure GPIO pins : SPU_PROCHOT_Pin CMPOUT_Pin (BQ25713 open-drain outputs, pulled up on the board) */
  GPIO_InitStruct.Pin = SPU_PROCHOT_Pin|CMPOUT_Pin;
  GPIO_InitStruct.Mode = GPIO_MODE_INPUT;
  GPIO_InitStruct.Pull = GPIO_NOPULL;
  HAL_GPIO_Init(GPIOC, &GPIO_InitStruct);

  /*Configure GPIO pin : SPU_PD_IRQ_Pin */
  GPIO_InitStruct.Pin = SPU_PD_IRQ_Pin;
  GPIO_InitStruct.Mode = GPIO_MODE_IT_RISING;
  GPIO_InitStruct.Pull = GPIO_NOPULL;
  HAL_GPIO_Init(SPU_PD_IRQ_GPIO_Port, &GPIO_InitStruct);

}

/* USER CODE BEGIN 4 */
/* --- crash recorder: fault handlers (it.c) branch here with the exception frame; Error_Handler() records too.
 * The record sits next to the DFU magic word in RAM that the startup code never touches, survives the
 * reset and is printed by the next boot. */
void Athena_FaultSave(uint32_t *sp)
{
  volatile uint32_t *r = (volatile uint32_t *)(DFU_MAGIC_ADDR + 0x10);
  r[1] = sp[6]; r[2] = sp[5]; r[3] = SCB->CFSR; r[4] = SCB->HFSR; r[5] = SCB->BFAR; r[0] = 0x46415554UL;   /* "FAUT" */
  __DSB();
  NVIC_SystemReset();
}
/* --- recovery hardware hooks -------------------------------------------------------------------
 * Pyro channels: PYRO_n -> 1 k -> gate of a 2N7002 whose drain sits on the fused pyro bus (ARM terminal
 * in series with the battery) and whose source feeds the igniter terminal, so HIGH = conducting.
 * Servo power: SERVOn_EN drives the gate of an IRLML6402 P-FET between +5V and the servo header. With a
 * 3.3 V gate against a 5 V source (Vgs = -1.7 V) that FET conducts whatever the pin does; LOW gives full
 * enhancement, so the pins idle low and servo power is simply always on. ponytail: a board revision needs a
 * level shifter or an open-drain pin with a pull-up to +5V before "servo power off" can exist. */
static GPIO_TypeDef *const pyro_port[RECOVERY_PYRO_CH] = { PYRO_1_GPIO_Port, PYRO_2_GPIO_Port, PYRO_3_GPIO_Port, PYRO_4_GPIO_Port, PYRO_5_GPIO_Port, PYRO_6_GPIO_Port };
static const uint16_t   pyro_pin[RECOVERY_PYRO_CH]   = { PYRO_1_Pin, PYRO_2_Pin, PYRO_3_Pin, PYRO_4_Pin, PYRO_5_Pin, PYRO_6_Pin };

void Recovery_HwPyro(uint8_t ch, int on)
{
  if (ch < RECOVERY_PYRO_CH) HAL_GPIO_WritePin(pyro_port[ch], pyro_pin[ch], on ? GPIO_PIN_SET : GPIO_PIN_RESET);
}

void Recovery_HwServo(uint8_t ch, uint16_t us)       /* TIM1 CH1-4 = servo 1-4, TIM2 CH1-2 = servo 5-6; 1 us per tick, 20 ms frame */
{
  if (ch < 4)      __HAL_TIM_SET_COMPARE(&htim1, (uint32_t)ch * 4u, us);
  else if (ch < 6) __HAL_TIM_SET_COMPARE(&htim2, (uint32_t)(ch - 4) * 4u, us);
}

/* --- link handlers ------------------------------------------------------------------------------ */
static const char *const cmd_names[] = { "?", "ping", "arm", "disarm", "fire", "servo", "reset-mpu", "main-alt" };

static void handle_cmd(const Athena_Cmd *c, const char *src)
{
  const char *name = c->cmd < 8 ? cmd_names[c->cmd] : "?";
  if (c->cmd == CMD_RESET_MPU) {                       /* PB9 -> diode -> MPU NRST: a 20 ms low pulse */
    if (rec.phase != SPU_PHASE_PAD && rec.phase != SPU_PHASE_LANDED) { cmd_rejected++; print("cmd %s: reset-mpu REJECTED in flight\r\n", src); return; }
    HAL_GPIO_WritePin(RESET_MPU_GPIO_Port, RESET_MPU_Pin, GPIO_PIN_RESET);
    HAL_Delay(20);
    HAL_GPIO_WritePin(RESET_MPU_GPIO_Port, RESET_MPU_Pin, GPIO_PIN_SET);
    cmd_count++;
    print("cmd %s: %s -> MPU reset pulsed\r\n", src, name);
    return;
  }
  int rc = Recovery_Command(&rec, c, HAL_GetTick());
  if (rc == 0) cmd_count++; else cmd_rejected++;
  print("cmd %s: %s ch=%u val=%u -> %s%s\r\n", src, name, c->arg, c->value, rc == 0 ? "ok" : "REJECTED",
        rc == 0 && c->cmd == CMD_ARM ? " (pyros live when the ARM terminal is closed)" : "");
}

static void on_mpu_packet(uint8_t type, const uint8_t *payload, uint8_t len, void *user)
{
  (void)user;
  if (type == LINK_PKT_STATE && len == sizeof(Athena_State)) {
    memcpy(&mpu_state, payload, sizeof mpu_state);
    mpu_state_ms = HAL_GetTick(); state_count++;
    Recovery_OnState(&rec, &mpu_state, mpu_state_ms);
  } else if (type == LINK_PKT_CMD && len == sizeof(Athena_Cmd)) {
    Athena_Cmd c; memcpy(&c, payload, sizeof c);
    handle_cmd(&c, "link");
  }
}

static void on_usb_packet(uint8_t type, const uint8_t *payload, uint8_t len, void *user)
{
  (void)user;
  if (type == LINK_PKT_CMD && len == sizeof(Athena_Cmd)) {
    Athena_Cmd c; memcpy(&c, payload, sizeof c);
    handle_cmd(&c, "usb");
  }
}

/* single characters typed on the USB console (bench use): A arm, d disarm, 1-6 fire, s servo sweep, r reset MPU, B/J DFU */
static void on_usb_text(uint8_t b, void *user)
{
  (void)user;
  Athena_Cmd c; memset(&c, 0, sizeof c);
  if (b == 'B' || b == 'J') { Athena_DfuRequest(b); return; }
  if (b == 'L') { leds_off = !leds_off; if (leds_off) Set_LED_Color(LED_OFF); print("leds %s\r\n", leds_off ? "off" : "on"); return; }
  if (b == 'A') {                                          // arm: 'A' twice within 2 s (a stray byte must not arm)
    static uint32_t arm_ms;
    uint32_t now = HAL_GetTick();
    if (!arm_ms || (now - arm_ms) > 2000u) { arm_ms = now; print("A again within 2 s to arm\r\n"); return; }
    arm_ms = 0; c.cmd = CMD_ARM; c.key = CMD_KEY;
  }
  else if (b == 'd') { c.cmd = CMD_DISARM; }
  else if (b >= '1' && b <= '6') { c.cmd = CMD_FIRE; c.arg = (uint8_t)(b - '0'); c.key = CMD_KEY; }
  else if (b == 'r') { c.cmd = CMD_RESET_MPU; }
  else if (b == 's') { c.cmd = CMD_SERVO; c.arg = 1; c.value = rec.servo_us[0] == 1000 ? 2000 : 1000; }   // toggles servo 1 between its ends
  else return;
  handle_cmd(&c, "console");
}

void Athena_UsbRx(const uint8_t *buf, uint32_t len)       /* USB CDC receive interrupt */
{
  for (uint32_t i = 0; i < len; i++) Link_RxPush(&usb_link, buf[i]);
}

void HAL_UART_RxCpltCallback(UART_HandleTypeDef *huart)
{
  if (huart->Instance == UART5) {
    Link_RxPush(&mpu_link, uart5_rx_byte);
    HAL_UART_Receive_IT(&huart5, &uart5_rx_byte, 1);
  }
}

void HAL_UART_ErrorCallback(UART_HandleTypeDef *huart)
{
  if (huart->Instance == UART5) {                        // an overrun aborts IT reception: re-arm it
    __HAL_UART_CLEAR_FLAG(huart, UART_CLEAR_OREF | UART_CLEAR_FEF | UART_CLEAR_NEF);
    HAL_UART_Receive_IT(&huart5, &uart5_rx_byte, 1);
  }
}

/* --- software entry into the ST ROM bootloader (USB DFU), two ways ---------------------------
 * 'B': disconnect USB so the host notices (>= 30 ms), leave a magic word in RAM and reset; main() checks
 *      it before anything else and jumps into system memory from a reset-clean chip.
 * 'J': jump from here without a reset: tear USB, clocks, NVIC and caches down to their reset state and
 *      enter system memory with interrupts enabled (the ROM uses the USB IRQ). */
extern USBD_HandleTypeDef hUsbDeviceFS;
static volatile uint8_t dfu_request;
void Athena_DfuRequest(uint8_t c) { dfu_request = c; }

/* G4: jumping into the ROM re-runs its boot selection and sometimes lands back in the application, so the
 * option bytes do the job instead: nSWBOOT0=0 + nBOOT0=0 makes the next reset boot system memory exactly like a
 * BOOT0 press; OB_Launch performs that reset. Athena_RestoreBootOptions() (start of main) undoes it as soon as
 * the application runs again, i.e. right after dfu-util's leave. */
#ifndef SPU_DFU_OPTION_BYTES
#define SPU_DFU_OPTION_BYTES 0     /* 1 = option-byte boot selection (hung once on the bench, untested since); 0 = flag + ROM jump */
#endif
static void Athena_ResetToDfu(void)
{
  USBD_DeInit(&hUsbDeviceFS);                                   /* host sees a disconnect */
  HAL_Delay(100);
#if !SPU_DFU_OPTION_BYTES
  DFU_BKP_ENABLE();
  DFU_BKP_REG = DFU_MAGIC;                                      /* backup register flag: main() jumps into the ROM after the reset */
  *(volatile uint32_t *)DFU_MAGIC_ADDR = DFU_MAGIC;
  __DSB();
  NVIC_SystemReset();
#endif
  FLASH_OBProgramInitTypeDef ob = {0};
  ob.OptionType = OPTIONBYTE_USER;
  ob.USERType   = OB_USER_nSWBOOT0 | OB_USER_nBOOT0;
  ob.USERConfig = OB_BOOT0_FROM_OB | OB_nBOOT0_RESET;
  HAL_FLASH_Unlock();
  HAL_FLASH_OB_Unlock();
  if (HAL_FLASHEx_OBProgram(&ob) == HAL_OK) HAL_FLASH_OB_Launch();   /* never returns: option-byte reload = reset */
  HAL_FLASH_OB_Lock();
  HAL_FLASH_Lock();
  NVIC_SystemReset();                                           /* programming failed: at least restart cleanly */
}

static void Athena_RestoreBootOptions(void)                     /* back from DFU: boot from the BOOT0 pin again */
{
  if (FLASH->OPTR & FLASH_OPTR_nSWBOOT0) return;                /* already normal */
  FLASH_OBProgramInitTypeDef ob = {0};
  ob.OptionType = OPTIONBYTE_USER;
  ob.USERType   = OB_USER_nSWBOOT0 | OB_USER_nBOOT0;
  ob.USERConfig = OB_BOOT0_FROM_PIN | OB_nBOOT0_SET;
  HAL_FLASH_Unlock();
  HAL_FLASH_OB_Unlock();
  if (HAL_FLASHEx_OBProgram(&ob) == HAL_OK) HAL_FLASH_OB_Launch();   /* resets into a normal boot */
  HAL_FLASH_OB_Lock();
  HAL_FLASH_Lock();
}

static void Athena_JumpToBootloader(void)
{
  USBD_DeInit(&hUsbDeviceFS);                                   /* host sees a disconnect */
  HAL_Delay(100);
  __disable_irq();
  HAL_RCC_DeInit();
  HAL_DeInit();
  SysTick->CTRL = 0; SysTick->LOAD = 0; SysTick->VAL = 0;
  for (unsigned i = 0; i < sizeof(NVIC->ICER) / sizeof(NVIC->ICER[0]); i++) { NVIC->ICER[i] = 0xFFFFFFFFu; NVIC->ICPR[i] = 0xFFFFFFFFu; }
#if defined(__CORTEX_M) && (__CORTEX_M == 7U)
  SCB_DisableICache();
  SCB_DisableDCache();
#endif
  __HAL_RCC_SYSCFG_CLK_ENABLE();
  __HAL_SYSCFG_REMAPMEMORY_SYSTEMFLASH();
  SCB->VTOR = DFU_SYSMEM_ADDR;
  __set_MSP(*(volatile uint32_t *)DFU_SYSMEM_ADDR);
  __enable_irq();
  ((void (*)(void))(*(volatile uint32_t *)(DFU_SYSMEM_ADDR + 4)))();
  for (;;) {}
}

static void Athena_DfuPoll(void)                                /* main loop */
{
  uint8_t c = dfu_request;
  if (!c) return;
  dfu_request = 0;
  if (c == 'J') Athena_JumpToBootloader();
  else Athena_ResetToDfu();
}

/* USER CODE END 4 */

void Error_Handler(void)
{
  /* USER CODE BEGIN Error_Handler_Debug */
  { volatile uint32_t *r = (volatile uint32_t *)(DFU_MAGIC_ADDR + 0x10);       /* who called us: printed after the reset */
    r[1] = (uint32_t)__builtin_return_address(0); r[2] = 0; r[3] = r[4] = r[5] = 0; r[0] = 0x4552524FUL;   /* "ERRO" */
    __DSB();
    NVIC_SystemReset(); }
  /* User can add his own implementation to report the HAL error return state */
  __disable_irq();
  while (1)
  {
  }
  /* USER CODE END Error_Handler_Debug */
}
